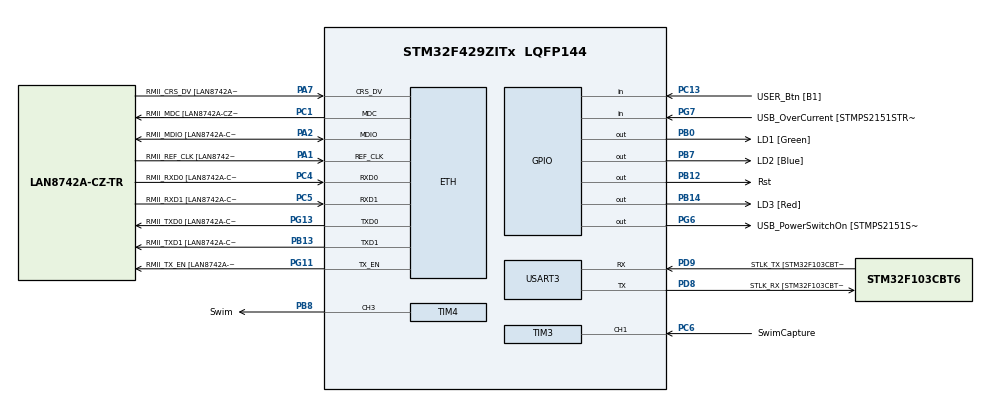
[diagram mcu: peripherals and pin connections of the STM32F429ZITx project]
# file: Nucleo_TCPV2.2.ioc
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Dma.Request0=TIM4_UP
Dma.Request1=TIM3_CH2
Dma.Request2=USART3_TX
Dma.TIM3_CH2.1.Direction=DMA_PERIPH_TO_MEMORY
Dma.TIM3_CH2.1.FIFOMode=DMA_FIFOMODE_DISABLE
Dma.TIM3_CH2.1.Instance=DMA1_Stream5
Dma.TIM3_CH2.1.MemDataAlignment=DMA_MDATAALIGN_HALFWORD
Dma.TIM3_CH2.1.MemInc=DMA_MINC_ENABLE
Dma.TIM3_CH2.1.Mode=DMA_NORMAL
Dma.TIM3_CH2.1.PeriphDataAlignment=DMA_PDATAALIGN_HALFWORD
Dma.TIM3_CH2.1.PeriphInc=DMA_PINC_DISABLE
Dma.TIM3_CH2.1.Priority=DMA_PRIORITY_LOW
Dma.TIM4_UP.0.Direction=DMA_MEMORY_TO_PERIPH
Dma.TIM4_UP.0.FIFOMode=DMA_FIFOMODE_DISABLE
Dma.TIM4_UP.0.Instance=DMA1_Stream6
Dma.TIM4_UP.0.MemDataAlignment=DMA_MDATAALIGN_HALFWORD
Dma.TIM4_UP.0.MemInc=DMA_MINC_ENABLE
Dma.TIM4_UP.0.Mode=DMA_NORMAL
Dma.TIM4_UP.0.PeriphDataAlignment=DMA_PDATAALIGN_HALFWORD
Dma.TIM4_UP.0.PeriphInc=DMA_PINC_DISABLE
Dma.TIM4_UP.0.Priority=DMA_PRIORITY_LOW
Dma.USART3_TX.2.Direction=DMA_MEMORY_TO_PERIPH
Dma.USART3_TX.2.FIFOMode=DMA_FIFOMODE_DISABLE
Dma.USART3_TX.2.Instance=DMA1_Stream3
Dma.USART3_TX.2.MemDataAlignment=DMA_MDATAALIGN_BYTE
Dma.USART3_TX.2.MemInc=DMA_MINC_ENABLE
Dma.USART3_TX.2.Mode=DMA_NORMAL
Dma.USART3_TX.2.PeriphDataAlignment=DMA_PDATAALIGN_BYTE
Dma.USART3_TX.2.PeriphInc=DMA_PINC_DISABLE
Dma.USART3_TX.2.Priority=DMA_PRIORITY_LOW
ETH.MACAddr=00\:80\:E1\:00\:00\:10
ETH.MediaInterface=HAL_ETH_RMII_MODE
ETH.PHY_Name=LAN8742A_PHY_ADDRESS
ETH.PHY_Value=0
ETH.PhyAddress=0
LWIP.API_LIB_DEBUG=LWIP_DBG_OFF
LWIP.API_MSG_DEBUG=LWIP_DBG_OFF
LWIP.BSP.number=1
LWIP.CHECKSUM_BY_HARDWARE=1
LWIP.CMSIS_VERSION-Enabled=1
LWIP.ETHARP_DEBUG=LWIP_DBG_OFF
LWIP.GATEWAY_ADDRESS=192.168.038.001
LWIP.IP_ADDRESS=192.168.038.251
LWIP.IP_DEBUG=LWIP_DBG_OFF
LWIP.IP_REASS_MAX_PBUFS=7
LWIP.LWIP_DBG_TYPES_ON=LWIP_DBG_ON
LWIP.LWIP_DHCP=0
LWIP.LWIP_NETIF_EXT_STATUS_CALLBACK=1
LWIP.LWIP_NETIF_STATUS_CALLBACK=1
LWIP.MEMP_NUM_PBUF=10
LWIP.MEMP_NUM_SYS_TIMEOUT=10
LWIP.MEMP_NUM_TCP_PCB=10
LWIP.MEMP_NUM_TCP_PCB_LISTEN=5
LWIP.MEMP_NUM_TCP_SEG=TCP_SND_QUEUELEN
LWIP.MEMP_NUM_UDP_PCB=6
LWIP.MEM_DEBUG=LWIP_DBG_OFF
LWIP.MEM_SIZE=(14*1024)
LWIP.NETMASK_ADDRESS=255.255.255.000
LWIP.PBUF_DEBUG=LWIP_DBG_OFF
LWIP.PBUF_POOL_BUFSIZE=1536
LWIP.PBUF_POOL_SIZE=16
LWIP.RAW_DEBUG=LWIP_DBG_OFF
LWIP.SOCKETS_DEBUG=LWIP_DBG_OFF
LWIP.TCP_DEBUG=LWIP_DBG_OFF
LWIP.TCP_INPUT_DEBUG=LWIP_DBG_OFF
LWIP.TCP_MSS=1460
LWIP.TCP_SND_BUF=5840
LWIP.TCP_SND_QUEUELEN=8
LWIP.TCP_WND=5840
LWIP.Version=v2.1.2_Cube
LWIP0.BSP.STBoard=false
LWIP0.BSP.api=BSP_COMPONENT_DRIVER
LWIP0.BSP.component=LAN8742
LWIP0.BSP.instance=LAN8742
LWIP0.BSP.name=Driver_PHY
LWIP0.BSP.semaphore=S_LAN8742
LWIP0.BSP.solution=LAN8742
Mcu.Family=STM32F4
Mcu.Name=STM32F429ZITx
Mcu.Package=LQFP144
NVIC.DMA1_Stream3_IRQn=true\:0\:0\:false\:false\:true\:false\:true\:true
NVIC.DMA1_Stream5_IRQn=true\:1\:0\:true\:false\:true\:false\:true\:true
NVIC.DMA1_Stream6_IRQn=true\:1\:0\:true\:false\:true\:false\:true\:true
NVIC.ETH_IRQn=true\:1\:0\:true\:false\:true\:true\:true\:true
NVIC.PriorityGroup=NVIC_PRIORITYGROUP_4
NVIC.TIM3_IRQn=true\:1\:0\:true\:false\:true\:true\:true\:true
NVIC.TIM6_DAC_IRQn=true\:15\:0\:false\:false\:true\:false\:true\:true
NVIC.TimeBase=TIM6_DAC_IRQn
NVIC.TimeBaseIP=TIM6
PA1.GPIO_Label=RMII_REF_CLK [LAN8742A-CZ-TR_REFCLK0]
PA1.Mode=RMII
PA1.Signal=ETH_REF_CLK
PA13.GPIO_Label=TMS
PA13.Mode=Serial_Wire
PA13.Signal=SYS_JTMS-SWDIO
PA14.GPIO_Label=TCK
PA14.Mode=Serial_Wire
PA14.Signal=SYS_JTCK-SWCLK
PA2.GPIO_Label=RMII_MDIO [LAN8742A-CZ-TR_MDIO]
PA2.Mode=RMII
PA2.Signal=ETH_MDIO
PA7.GPIO_Label=RMII_CRS_DV [LAN8742A-CZ-TR_CRS_DV]
PA7.Mode=RMII
PA7.Signal=ETH_CRS_DV
PB0.GPIO_Label=LD1 [Green]
PB0.Signal=GPIO_Output
PB12.GPIO_Label=Rst
PB12.GPIO_ModeDefaultOutputPP=GPIO_MODE_OUTPUT_OD
PB12.GPIO_PuPd=GPIO_PULLUP
PB12.GPIO_Speed=GPIO_SPEED_FREQ_HIGH
PB12.PinState=GPIO_PIN_SET
PB12.Signal=GPIO_Output
PB13.GPIO_Label=RMII_TXD1 [LAN8742A-CZ-TR_TXD1]
PB13.Mode=RMII
PB13.Signal=ETH_TXD1
PB14.GPIO_Label=LD3 [Red]
PB14.Signal=GPIO_Output
PB7.GPIO_Label=LD2 [Blue]
PB7.Signal=GPIO_Output
PB8.GPIO_Label=Swim
PB8.GPIO_ModeDefaultPP=GPIO_MODE_AF_OD
PB8.GPIO_PuPd=GPIO_PULLUP
PB8.GPIO_Speed=GPIO_SPEED_FREQ_VERY_HIGH
PB8.Signal=S_TIM4_CH3
PC1.GPIO_Label=RMII_MDC [LAN8742A-CZ-TR_MDC]
PC1.Mode=RMII
PC1.Signal=ETH_MDC
PC13.GPIO_Label=USER_Btn [B1]
PC13.Signal=GPIO_Input
PC14/OSC32_IN.Mode=LSE-External-Oscillator
PC14/OSC32_IN.Signal=RCC_OSC32_IN
PC15/OSC32_OUT.Mode=LSE-External-Oscillator
PC15/OSC32_OUT.Signal=RCC_OSC32_OUT
PC4.GPIO_Label=RMII_RXD0 [LAN8742A-CZ-TR_RXD0]
PC4.Mode=RMII
PC4.Signal=ETH_RXD0
PC5.GPIO_Label=RMII_RXD1 [LAN8742A-CZ-TR_RXD1]
PC5.Mode=RMII
PC5.Signal=ETH_RXD1
PC6.GPIO_Label=SwimCapture
PC6.GPIO_ModeDefaultPP=GPIO_MODE_AF_OD
PC6.GPIO_PuPd=GPIO_PULLUP
PC6.GPIO_Speed=GPIO_SPEED_FREQ_VERY_HIGH
PC6.Signal=S_TIM3_CH1
PD8.GPIO_Label=STLK_RX [STM32F103CBT6_PA3]
PD8.Mode=Asynchronous
PD8.Signal=USART3_TX
PD9.GPIO_Label=STLK_TX [STM32F103CBT6_PA2]
PD9.Mode=Asynchronous
PD9.Signal=USART3_RX
PG11.GPIO_Label=RMII_TX_EN [LAN8742A-CZ-TR_TXEN]
PG11.Mode=RMII
PG11.Signal=ETH_TX_EN
PG13.GPIO_Label=RMII_TXD0 [LAN8742A-CZ-TR_TXD0]
PG13.Mode=RMII
PG13.Signal=ETH_TXD0
PG6.GPIO_Label=USB_PowerSwitchOn [STMPS2151STR_EN]
PG6.Signal=GPIO_Output
PG7.GPIO_Label=USB_OverCurrent [STMPS2151STR_FAULT]
PG7.Signal=GPIO_Input
PH0/OSC_IN.GPIO_Label=MCO [STM32F103CBT6_PA8]
PH0/OSC_IN.Mode=HSE-External-Clock-Source
PH0/OSC_IN.Signal=RCC_OSC_IN
PH1/OSC_OUT.Mode=HSE-External-Clock-Source
PH1/OSC_OUT.Signal=RCC_OSC_OUT
ProjectManager.HeapSize=0x4000
ProjectManager.StackSize=0x1000
ProjectManager.TargetToolchain=STM32CubeIDE
RCC.48MHZClocksFreq_Value=50285714.28571428
RCC.AHBFreq_Value=176000000
RCC.APB1CLKDivider=RCC_HCLK_DIV4
RCC.APB1Freq_Value=44000000
RCC.APB1TimFreq_Value=88000000
RCC.APB2CLKDivider=RCC_HCLK_DIV2
RCC.APB2Freq_Value=88000000
RCC.APB2TimCLKDivider=2
RCC.APB2TimFreq_Value=176000000
RCC.CortexFreq_Value=176000000
RCC.HCLKFreq_Value=176000000
RCC.HSE_VALUE=8000000
RCC.HSI_VALUE=16000000
RCC.PLLM=4
RCC.PLLMUL=RCC_PLL_MUL9
RCC.PLLN=176
RCC.PLLQ=7
RCC.PLLSourceVirtual=RCC_PLLSOURCE_HSE
RCC.PRESCALERUSB=RCC_USBCLKSOURCE_PLL_DIV1_5
RCC.SYSCLKFreq_VALUE=176000000
RCC.SYSCLKSource=RCC_SYSCLKSOURCE_PLLCLK
RCC.SYSCLKSourceVirtual=RCC_SYSCLKSOURCE_PLLCLK
RCC.USBFreq_Value=48000000
RCC.VCOOutputFreq_Value=352000000
SH.S_TIM3_CH1.0=TIM3_CH1,Input_Capture1_from_TI1
SH.S_TIM3_CH1.1=TIM3_CH1,Input_Capture2_from_TI1
SH.S_TIM3_CH1.2=TIM3_CH1,TriggerSource_TI1FP1
SH.S_TIM4_CH3.0=TIM4_CH3,PWM Generation3 CH3
TIM1.Period=3999
TIM1.Prescaler=43999
TIM1.TIM_MasterOutputTrigger=TIM_TRGO_UPDATE
TIM1.TIM_MasterSlaveMode=TIM_MASTERSLAVEMODE_ENABLE
TIM14.Period=999
TIM14.Prescaler=175
TIM2.Period=0xFFFFFFFF
TIM2.TIM_MasterSlaveMode=TIM_MASTERSLAVEMODE_ENABLE
TIM3.AutoReloadPreload=TIM_AUTORELOAD_PRELOAD_DISABLE
TIM3.Channel-Input_Capture1_from_TI1=TIM_CHANNEL_1
TIM3.Channel-Input_Capture2_from_TI1=TIM_CHANNEL_2
TIM3.Channel-Output\ Compare4\ No\ Output=TIM_CHANNEL_4
TIM3.CounterMode=TIM_COUNTERMODE_UP
TIM3.ICPolarity_CH1=TIM_INPUTCHANNELPOLARITY_FALLING
TIM3.Period=0xFFFF
TIM3.Prescaler=0
TIM3.Pulse-Output\ Compare4\ No\ Output=0xFFF0
TIM4.Channel-PWM\ Generation3\ CH3=TIM_CHANNEL_3
TIM4.Period=43999
TIM4.Prescaler=0
TIM4.Pulse-PWM\ Generation3\ CH3=100
TIM5.Prescaler=87
USART3.VirtualMode=VM_ASYNC
VP_CRC_VS_CRC.Mode=CRC_Activate
VP_LWIP_VS_Enabled.Mode=Enabled
VP_SYS_VS_tim6.Mode=TIM6
VP_TIM14_VS_ClockSourceINT.Mode=Enable_Timer
VP_TIM1_VS_ClockSourceINT.Mode=Internal
VP_TIM2_VS_ClockSourceITR.Mode=TriggerSource_ITR0
VP_TIM2_VS_ControllerModeClock.Mode=Clock Mode
VP_TIM3_VS_ClockSourceINT.Mode=Internal
VP_TIM3_VS_ControllerModeReset.Mode=Reset Mode
VP_TIM3_VS_no_output4.Mode=Output Compare4 No Output
VP_TIM4_VS_ClockSourceINT.Mode=Internal
VP_TIM5_VS_ClockSourceINT.Mode=Internal
board=NUCLEO-F429ZI

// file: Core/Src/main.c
/* USER CODE BEGIN Header */
/**
  ******************************************************************************
  * @file           : main.c
  * @brief          : Main program body
  ******************************************************************************
  * @attention
  *
  * Copyright (c) 2025 STMicroelectronics.
  * All rights reserved.
  *
  * This software is licensed under terms that can be found in the LICENSE file
  * in the root directory of this software component.
  * If no LICENSE file comes with this software, it is provided AS-IS.
  *
  ******************************************************************************
  */
/* USER CODE END Header */
#include "main.h"
#include "lwip.h"

/* USER CODE BEGIN Includes */
#include "string.h"
#include "Came.h"

/* USER CODE END Includes */

/* USER CODE BEGIN PD */

//#define Debug 1

/* USER CODE END PD */

/* USER CODE BEGIN PV */
extern uint32_t SWIMStatus;
unsigned int Data[128];
char TxBuffer[1024];

int i;
uint32_t NewCodePtr;
uint32_t NewCode2ReadPtr;

/* USER CODE END PV */

void SystemClock_Config(void);
static void MX_GPIO_Init(void);
static void MX_DMA_Init(void);
static void MX_USART3_UART_Init(void);
static void MX_CRC_Init(void);
static void MX_TIM3_Init(void);
static void MX_TIM4_Init(void);
static void MX_TIM1_Init(void);
static void MX_TIM2_Init(void);
static void MX_TIM5_Init(void);
static void MX_TIM14_Init(void);

int main(void)
{

  /* USER CODE BEGIN 1 */
	//Init pointers to the codes read on the Came board TIM7
	NewCodePtr = 0;
	NewCode2ReadPtr = 0;
	uint32_t LastCPUStatusCheck,LastCameOp;
	uint32_t CurrTimestamp;
	uint8_t Contatore;
	memset(&CodeData[0],0xff,10);  //Clear current buffer
	uint8_t ControllerVersion;
  /* USER CODE END 1 */

  /* MCU Configuration--------------------------------------------------------*/

  /* Reset of all peripherals, Initializes the Flash interface and the Systick. */
  HAL_Init();

  /* Configure the system clock */
  SystemClock_Config();

  /* Initialize all configured peripherals */
  MX_GPIO_Init();
  MX_DMA_Init();
  MX_USART3_UART_Init();
  MX_LWIP_Init();
  MX_CRC_Init();
  MX_TIM3_Init();
  MX_TIM4_Init();
  MX_TIM1_Init();
  MX_TIM2_Init();
  MX_TIM5_Init();
  MX_TIM14_Init();
  /* USER CODE BEGIN 2 */
  printf_init();
  (void)Contatore;

  //TImers 1 and 2 used in cascade to generate timestamp for ethernet messages
  LL_TIM_EnableCounter(TIM2);
  LL_TIM_EnableCounter(TIM1);

  LL_TIM_EnableCounter(TIM5); //Counts at 1MHz, to generate schedule in main.c
  LL_TIM_EnableCounter(TIM14); //To check update event to generate ethernet process
  /* USER CODE BEGIN 5 */
  SWIMInit();

  // Inith ethernet interface
  tcp_com_init();

#ifdef Debug  //Print memory
  uint32_t RxAddr = 0x5;  //Later is shifted by 4
  uint32_t TimeForDelay;
  uint8_t RxChar;
#endif

  CurrTimestamp = LL_TIM_GetCounter(TIM5);
  LastCPUStatusCheck = CurrTimestamp;
  LastCameOp = CurrTimestamp;

  ControllerVersion = 0;

  /* USER CODE END 2 */

  /* Infinite loop */
  /* USER CODE BEGIN WHILE */
  while (1)
  {

	  CurrTimestamp = LL_TIM_GetCounter(TIM5);
#ifdef Debug  //Print memory  1kB of memory 00..0x3ff

	  i = 0;
//	  SWIM_Write(0x7f99, 1,(uint16_t *)&Data);
	  SWIM_Read((RxAddr<<4),0x40,(uint16_t *)&Data);
//	  SWIMRst();
	  sprintf(TxBuffer,"%04X > ", (unsigned int)RxAddr<<4);
	  printf(TxBuffer); //,0);
	  while(i<32) {
		  sprintf(TxBuffer,"%02X %02X %02X %02X.%02X %02X %02X %02X|", Data[i] & 0xffff, (Data[i]>>16) & 0xffff, Data[i+1] & 0xffff, (Data[i+1]>>16) & 0xffff, Data[i+2] & 0xffff, (Data[i+2]>>16) & 0xffff,Data[i+3] & 0xffff, (Data[i+3]>>16) & 0xffff);
		  i += 4;
		  printf(TxBuffer);
		  if (i>=32)
			  printf("%d\n",Contatore++);
	  }
#endif
	  if (SWIMStatus != SWIM_Idle) {
		  SWIMCommRst();
		  if (SWIMStatus != SWIM_Idle) { //not recovered? try a full resync
			  LL_GPIO_SetOutputPin(LD3_GPIO_Port, LD3_Pin);
			  SWIMInit();
			  LastCPUStatusCheck = CurrTimestamp - 3100000l; //To force check of CPU stall
		  }
	  } else {
		  LL_GPIO_ResetOutputPin(LD3_GPIO_Port, LD3_Pin);
	  }
#ifdef Debug  //Print memory
	  if (LL_USART_IsActiveFlag_RXNE(USART3)) {
		  RxChar = LL_USART_ReceiveData8(USART3) | 0x20; //Converted to lowercase
		  if (RxChar >= 'a')
			  RxChar = RxChar - 'a' + 10;
		  else
			  RxChar = RxChar - '0';
		  RxAddr = ((RxAddr<<4) | RxChar) & 0xfff;
	  }
	  TimeForDelay = LL_TIM_GetCounter(TIM5);
	  while ((LL_TIM_GetCounter(TIM5) - TimeForDelay) < 500000)
		  ;
	  //osDelay(500);
#endif

	  if ((CurrTimestamp - LastCPUStatusCheck) > 3000000l) {  //every 3 sec check if came is in reset
		  LastCPUStatusCheck = CurrTimestamp;
		  SWIM_Read(0x7f99, 1,(uint16_t *)&Data);  //Checking if CPU is in stall, normally after reset
		  if ((Data[0] & 8 ) == 8) {
			  Data[0] = Data[0] & 0xF7;  //clear bit 3 to resume CPU from stall
			  SWIM_Write(0x7f99, 1,(uint16_t *)&Data);
		  }
		  if ( ControllerVersion == 0) {
			  SWIM_Read(0x8100,0x4,(uint16_t *)&Data);
			  if (Data[0] == 0xb70007 && Data[1] == 0x3f0018) {         //V2: S1238100 07B7183F
				  ControllerVersion = 2;
			  } else if (Data[0] == 0x3f000C && Data[1] == 0x3f0014 ) {  //V1: S1238100 0C3F143F
				  ControllerVersion = 1;
			  }
		  }
	  }
	  //Print timestamp
	  //sprintf(TxBuffer,"%08lX",LL_TIM_GetCounter(TIM2));
	  //LL_PrintMyString(TxBuffer,1);

#ifndef Debug
	  if (((CurrTimestamp - LastCameOp) > 100000l) && (ControllerVersion > 0) ) {
		  CheckStoreCode(ControllerVersion);

		  if (CameStatus == CameOpRead) {
			  LL_GPIO_TogglePin(LD2_GPIO_Port, LD2_Pin);
			  ReadFlashCode();
		  }

		  if (CameStatus == CameOpWrite) {
			  LL_GPIO_TogglePin(LD2_GPIO_Port, LD2_Pin);
			  WriteFlashCode();
		  }
		  LastCameOp = CurrTimestamp;
	  }
#else
	  (void)LastCameOp;
#endif

	  //LL_GPIO_TogglePin(LD2_GPIO_Port, LD2_Pin);
	  //osDelay(100);

//	  SWIMRst();
//	  osDelay(1);
//	  LL_GPIO_ResetOutputPin(LD3_GPIO_Port, LD3_Pin);
//	  LL_GPIO_ResetOutputPin(LD1_GPIO_Port, LD1_Pin);

	  MX_LWIP_Process();
    /* USER CODE END WHILE */

  }
}

void SystemClock_Config(void)
{
  LL_FLASH_SetLatency(LL_FLASH_LATENCY_5);
  while(LL_FLASH_GetLatency()!= LL_FLASH_LATENCY_5)
  {
  }
  LL_PWR_SetRegulVoltageScaling(LL_PWR_REGU_VOLTAGE_SCALE1);
  LL_PWR_EnableOverDriveMode();
  LL_RCC_HSE_EnableBypass();
  LL_RCC_HSE_Enable();

   /* Wait till HSE is ready */
  while(LL_RCC_HSE_IsReady() != 1)
  {

  }
  LL_RCC_PLL_ConfigDomain_SYS(LL_RCC_PLLSOURCE_HSE, LL_RCC_PLLM_DIV_4, 176, LL_RCC_PLLP_DIV_2);
  LL_RCC_PLL_Enable();

   /* Wait till PLL is ready */
  while(LL_RCC_PLL_IsReady() != 1)
  {

  }
  while (LL_PWR_IsActiveFlag_VOS() == 0)
  {
  }
  LL_RCC_SetAHBPrescaler(LL_RCC_SYSCLK_DIV_1);
  LL_RCC_SetAPB1Prescaler(LL_RCC_APB1_DIV_4);
  LL_RCC_SetAPB2Prescaler(LL_RCC_APB2_DIV_2);
  LL_RCC_SetSysClkSource(LL_RCC_SYS_CLKSOURCE_PLL);

   /* Wait till System clock is ready */
  while(LL_RCC_GetSysClkSource() != LL_RCC_SYS_CLKSOURCE_STATUS_PLL)
  {

  }
  LL_SetSystemCoreClock(176000000);

   /* Update the time base */
  if (HAL_InitTick (TICK_INT_PRIORITY) != HAL_OK)
  {
    Error_Handler();
  }
  LL_RCC_SetTIMPrescaler(LL_RCC_TIM_PRESCALER_TWICE);
}

static void MX_CRC_Init(void)
{

  /* Peripheral clock enable */
  LL_AHB1_GRP1_EnableClock(LL_AHB1_GRP1_PERIPH_CRC);

}

static void MX_TIM1_Init(void)
{

  LL_TIM_InitTypeDef TIM_InitStruct = {0};

  /* Peripheral clock enable */
  LL_APB2_GRP1_EnableClock(LL_APB2_GRP1_PERIPH_TIM1);

  TIM_InitStruct.Prescaler = 43999;
  TIM_InitStruct.CounterMode = LL_TIM_COUNTERMODE_UP;
  TIM_InitStruct.Autoreload = 3999;
  TIM_InitStruct.ClockDivision = LL_TIM_CLOCKDIVISION_DIV1;
  TIM_InitStruct.RepetitionCounter = 0;
  LL_TIM_Init(TIM1, &TIM_InitStruct);
  LL_TIM_DisableARRPreload(TIM1);
  LL_TIM_SetClockSource(TIM1, LL_TIM_CLOCKSOURCE_INTERNAL);
  LL_TIM_SetTriggerOutput(TIM1, LL_TIM_TRGO_UPDATE);
  LL_TIM_EnableMasterSlaveMode(TIM1);

}

static void MX_TIM2_Init(void)
{

  LL_TIM_InitTypeDef TIM_InitStruct = {0};

  /* Peripheral clock enable */
  LL_APB1_GRP1_EnableClock(LL_APB1_GRP1_PERIPH_TIM2);

  TIM_InitStruct.Prescaler = 0;
  TIM_InitStruct.CounterMode = LL_TIM_COUNTERMODE_UP;
  TIM_InitStruct.Autoreload = 0xFFFFFFFF;
  TIM_InitStruct.ClockDivision = LL_TIM_CLOCKDIVISION_DIV1;
  LL_TIM_Init(TIM2, &TIM_InitStruct);
  LL_TIM_DisableARRPreload(TIM2);
  LL_TIM_SetTriggerInput(TIM2, LL_TIM_TS_ITR0);
  LL_TIM_SetClockSource(TIM2, LL_TIM_CLOCKSOURCE_EXT_MODE1);
  LL_TIM_DisableIT_TRIG(TIM2);
  LL_TIM_DisableDMAReq_TRIG(TIM2);
  LL_TIM_SetTriggerOutput(TIM2, LL_TIM_TRGO_RESET);
  LL_TIM_EnableMasterSlaveMode(TIM2);

}

static void MX_TIM3_Init(void)
{

  LL_TIM_InitTypeDef TIM_InitStruct = {0};
  LL_TIM_OC_InitTypeDef TIM_OC_InitStruct = {0};

  LL_GPIO_InitTypeDef GPIO_InitStruct = {0};

  /* Peripheral clock enable */
  LL_APB1_GRP1_EnableClock(LL_APB1_GRP1_PERIPH_TIM3);

  LL_AHB1_GRP1_EnableClock(LL_AHB1_GRP1_PERIPH_GPIOC);
  /**TIM3 GPIO Configuration
  PC6   ------> TIM3_CH1
  */
  GPIO_InitStruct.Pin = SwimCapture_Pin;
  GPIO_InitStruct.Mode = LL_GPIO_MODE_ALTERNATE;
  GPIO_InitStruct.Speed = LL_GPIO_SPEED_FREQ_VERY_HIGH;
  GPIO_InitStruct.OutputType = LL_GPIO_OUTPUT_OPENDRAIN;
  GPIO_InitStruct.Pull = LL_GPIO_PULL_UP;
  GPIO_InitStruct.Alternate = LL_GPIO_AF_2;
  LL_GPIO_Init(SwimCapture_GPIO_Port, &GPIO_InitStruct);

  /* TIM3 DMA Init */

  /* TIM3_CH2 Init */
  LL_DMA_SetChannelSelection(DMA1, LL_DMA_STREAM_5, LL_DMA_CHANNEL_5);

  LL_DMA_SetDataTransferDirection(DMA1, LL_DMA_STREAM_5, LL_DMA_DIRECTION_PERIPH_TO_MEMORY);

  LL_DMA_SetStreamPriorityLevel(DMA1, LL_DMA_STREAM_5, LL_DMA_PRIORITY_LOW);

  LL_DMA_SetMode(DMA1, LL_DMA_STREAM_5, LL_DMA_MODE_NORMAL);

  LL_DMA_SetPeriphIncMode(DMA1, LL_DMA_STREAM_5, LL_DMA_PERIPH_NOINCREMENT);

  LL_DMA_SetMemoryIncMode(DMA1, LL_DMA_STREAM_5, LL_DMA_MEMORY_INCREMENT);

  LL_DMA_SetPeriphSize(DMA1, LL_DMA_STREAM_5, LL_DMA_PDATAALIGN_HALFWORD);

  LL_DMA_SetMemorySize(DMA1, LL_DMA_STREAM_5, LL_DMA_MDATAALIGN_HALFWORD);

  LL_DMA_DisableFifoMode(DMA1, LL_DMA_STREAM_5);

  /* TIM3 interrupt Init */
  NVIC_SetPriority(TIM3_IRQn, NVIC_EncodePriority(NVIC_GetPriorityGrouping(),1, 0));
  NVIC_EnableIRQ(TIM3_IRQn);

  TIM_InitStruct.Prescaler = 0;
  TIM_InitStruct.CounterMode = LL_TIM_COUNTERMODE_UP;
  TIM_InitStruct.Autoreload = 0xFFFF;
  TIM_InitStruct.ClockDivision = LL_TIM_CLOCKDIVISION_DIV1;
  LL_TIM_Init(TIM3, &TIM_InitStruct);
  LL_TIM_DisableARRPreload(TIM3);
  LL_TIM_SetClockSource(TIM3, LL_TIM_CLOCKSOURCE_INTERNAL);
  TIM_OC_InitStruct.OCMode = LL_TIM_OCMODE_FROZEN;
  TIM_OC_InitStruct.OCState = LL_TIM_OCSTATE_DISABLE;
  TIM_OC_InitStruct.OCNState = LL_TIM_OCSTATE_DISABLE;
  TIM_OC_InitStruct.CompareValue = 0xFFF0;
  TIM_OC_InitStruct.OCPolarity = LL_TIM_OCPOLARITY_HIGH;
  LL_TIM_OC_Init(TIM3, LL_TIM_CHANNEL_CH4, &TIM_OC_InitStruct);
  LL_TIM_OC_DisableFast(TIM3, LL_TIM_CHANNEL_CH4);
  LL_TIM_SetTriggerInput(TIM3, LL_TIM_TS_TI1FP1);
  LL_TIM_SetSlaveMode(TIM3, LL_TIM_SLAVEMODE_RESET);
  LL_TIM_IC_SetFilter(TIM3, LL_TIM_CHANNEL_CH1, LL_TIM_IC_FILTER_FDIV1);
  LL_TIM_IC_SetPolarity(TIM3, LL_TIM_CHANNEL_CH1, LL_TIM_IC_POLARITY_FALLING);
  LL_TIM_DisableIT_TRIG(TIM3);
  LL_TIM_DisableDMAReq_TRIG(TIM3);
  LL_TIM_SetTriggerOutput(TIM3, LL_TIM_TRGO_RESET);
  LL_TIM_DisableMasterSlaveMode(TIM3);
  LL_TIM_IC_SetActiveInput(TIM3, LL_TIM_CHANNEL_CH1, LL_TIM_ACTIVEINPUT_DIRECTTI);
  LL_TIM_IC_SetPrescaler(TIM3, LL_TIM_CHANNEL_CH1, LL_TIM_ICPSC_DIV1);
  LL_TIM_IC_SetActiveInput(TIM3, LL_TIM_CHANNEL_CH2, LL_TIM_ACTIVEINPUT_INDIRECTTI);
  LL_TIM_IC_SetPrescaler(TIM3, LL_TIM_CHANNEL_CH2, LL_TIM_ICPSC_DIV1);
  LL_TIM_IC_SetFilter(TIM3, LL_TIM_CHANNEL_CH2, LL_TIM_IC_FILTER_FDIV1);
  LL_TIM_IC_SetPolarity(TIM3, LL_TIM_CHANNEL_CH2, LL_TIM_IC_POLARITY_RISING);

}

static void MX_TIM4_Init(void)
{

  LL_TIM_InitTypeDef TIM_InitStruct = {0};
  LL_TIM_OC_InitTypeDef TIM_OC_InitStruct = {0};

  LL_GPIO_InitTypeDef GPIO_InitStruct = {0};

  /* Peripheral clock enable */
  LL_APB1_GRP1_EnableClock(LL_APB1_GRP1_PERIPH_TIM4);

  /* TIM4 DMA Init */

  /* TIM4_UP Init */
  LL_DMA_SetChannelSelection(DMA1, LL_DMA_STREAM_6, LL_DMA_CHANNEL_2);

  LL_DMA_SetDataTransferDirection(DMA1, LL_DMA_STREAM_6, LL_DMA_DIRECTION_MEMORY_TO_PERIPH);

  LL_DMA_SetStreamPriorityLevel(DMA1, LL_DMA_STREAM_6, LL_DMA_PRIORITY_LOW);

  LL_DMA_SetMode(DMA1, LL_DMA_STREAM_6, LL_DMA_MODE_NORMAL);

  LL_DMA_SetPeriphIncMode(DMA1, LL_DMA_STREAM_6, LL_DMA_PERIPH_NOINCREMENT);

  LL_DMA_SetMemoryIncMode(DMA1, LL_DMA_STREAM_6, LL_DMA_MEMORY_INCREMENT);

  LL_DMA_SetPeriphSize(DMA1, LL_DMA_STREAM_6, LL_DMA_PDATAALIGN_HALFWORD);

  LL_DMA_SetMemorySize(DMA1, LL_DMA_STREAM_6, LL_DMA_MDATAALIGN_HALFWORD);

  LL_DMA_DisableFifoMode(DMA1, LL_DMA_STREAM_6);

  TIM_InitStruct.Prescaler = 0;
  TIM_InitStruct.CounterMode = LL_TIM_COUNTERMODE_UP;
  TIM_InitStruct.Autoreload = 43999;
  TIM_InitStruct.ClockDivision = LL_TIM_CLOCKDIVISION_DIV1;
  LL_TIM_Init(TIM4, &TIM_InitStruct);
  LL_TIM_DisableARRPreload(TIM4);
  LL_TIM_SetClockSource(TIM4, LL_TIM_CLOCKSOURCE_INTERNAL);
  LL_TIM_OC_EnablePreload(TIM4, LL_TIM_CHANNEL_CH3);
  TIM_OC_InitStruct.OCMode = LL_TIM_OCMODE_PWM1;
  TIM_OC_InitStruct.OCState = LL_TIM_OCSTATE_DISABLE;
  TIM_OC_InitStruct.OCNState = LL_TIM_OCSTATE_DISABLE;
  TIM_OC_InitStruct.CompareValue = 100;
  TIM_OC_InitStruct.OCPolarity = LL_TIM_OCPOLARITY_HIGH;
  LL_TIM_OC_Init(TIM4, LL_TIM_CHANNEL_CH3, &TIM_OC_InitStruct);
  LL_TIM_OC_DisableFast(TIM4, LL_TIM_CHANNEL_CH3);
  LL_TIM_SetTriggerOutput(TIM4, LL_TIM_TRGO_RESET);
  LL_TIM_DisableMasterSlaveMode(TIM4);
  LL_AHB1_GRP1_EnableClock(LL_AHB1_GRP1_PERIPH_GPIOB);
  /**TIM4 GPIO Configuration
  PB8   ------> TIM4_CH3
  */
  GPIO_InitStruct.Pin = Swim_Pin;
  GPIO_InitStruct.Mode = LL_GPIO_MODE_ALTERNATE;
  GPIO_InitStruct.Speed = LL_GPIO_SPEED_FREQ_VERY_HIGH;
  GPIO_InitStruct.OutputType = LL_GPIO_OUTPUT_OPENDRAIN;
  GPIO_InitStruct.Pull = LL_GPIO_PULL_UP;
  GPIO_InitStruct.Alternate = LL_GPIO_AF_2;
  LL_GPIO_Init(Swim_GPIO_Port, &GPIO_InitStruct);

}

static void MX_TIM5_Init(void)
{

  LL_TIM_InitTypeDef TIM_InitStruct = {0};

  /* Peripheral clock enable */
  LL_APB1_GRP1_EnableClock(LL_APB1_GRP1_PERIPH_TIM5);

  TIM_InitStruct.Prescaler = 87;
  TIM_InitStruct.CounterMode = LL_TIM_COUNTERMODE_UP;
  TIM_InitStruct.Autoreload = 4294967295;
  TIM_InitStruct.ClockDivision = LL_TIM_CLOCKDIVISION_DIV1;
  LL_TIM_Init(TIM5, &TIM_InitStruct);
  LL_TIM_DisableARRPreload(TIM5);
  LL_TIM_SetClockSource(TIM5, LL_TIM_CLOCKSOURCE_INTERNAL);
  LL_TIM_SetTriggerOutput(TIM5, LL_TIM_TRGO_RESET);
  LL_TIM_DisableMasterSlaveMode(TIM5);

}

static void MX_TIM14_Init(void)
{

  LL_TIM_InitTypeDef TIM_InitStruct = {0};

  /* Peripheral clock enable */
  LL_APB1_GRP1_EnableClock(LL_APB1_GRP1_PERIPH_TIM14);

  TIM_InitStruct.Prescaler = 175;
  TIM_InitStruct.CounterMode = LL_TIM_COUNTERMODE_UP;
  TIM_InitStruct.Autoreload = 999;
  TIM_InitStruct.ClockDivision = LL_TIM_CLOCKDIVISION_DIV1;
  LL_TIM_Init(TIM14, &TIM_InitStruct);
  LL_TIM_DisableARRPreload(TIM14);

}

static void MX_USART3_UART_Init(void)
{

  LL_USART_InitTypeDef USART_InitStruct = {0};

  LL_GPIO_InitTypeDef GPIO_InitStruct = {0};

  /* Peripheral clock enable */
  LL_APB1_GRP1_EnableClock(LL_APB1_GRP1_PERIPH_USART3);

  LL_AHB1_GRP1_EnableClock(LL_AHB1_GRP1_PERIPH_GPIOD);
  /**USART3 GPIO Configuration
  PD8   ------> USART3_TX
  PD9   ------> USART3_RX
  */
  GPIO_InitStruct.Pin = STLK_RX_Pin|STLK_TX_Pin;
  GPIO_InitStruct.Mode = LL_GPIO_MODE_ALTERNATE;
  GPIO_InitStruct.Speed = LL_GPIO_SPEED_FREQ_VERY_HIGH;
  GPIO_InitStruct.OutputType = LL_GPIO_OUTPUT_PUSHPULL;
  GPIO_InitStruct.Pull = LL_GPIO_PULL_NO;
  GPIO_InitStruct.Alternate = LL_GPIO_AF_7;
  LL_GPIO_Init(GPIOD, &GPIO_InitStruct);

  /* USART3 DMA Init */

  /* USART3_TX Init */
  LL_DMA_SetChannelSelection(DMA1, LL_DMA_STREAM_3, LL_DMA_CHANNEL_4);

  LL_DMA_SetDataTransferDirection(DMA1, LL_DMA_STREAM_3, LL_DMA_DIRECTION_MEMORY_TO_PERIPH);

  LL_DMA_SetStreamPriorityLevel(DMA1, LL_DMA_STREAM_3, LL_DMA_PRIORITY_LOW);

  LL_DMA_SetMode(DMA1, LL_DMA_STREAM_3, LL_DMA_MODE_NORMAL);

  LL_DMA_SetPeriphIncMode(DMA1, LL_DMA_STREAM_3, LL_DMA_PERIPH_NOINCREMENT);

  LL_DMA_SetMemoryIncMode(DMA1, LL_DMA_STREAM_3, LL_DMA_MEMORY_INCREMENT);

  LL_DMA_SetPeriphSize(DMA1, LL_DMA_STREAM_3, LL_DMA_PDATAALIGN_BYTE);

  LL_DMA_SetMemorySize(DMA1, LL_DMA_STREAM_3, LL_DMA_MDATAALIGN_BYTE);

  LL_DMA_DisableFifoMode(DMA1, LL_DMA_STREAM_3);

  USART_InitStruct.BaudRate = 115200;
  USART_InitStruct.DataWidth = LL_USART_DATAWIDTH_8B;
  USART_InitStruct.StopBits = LL_USART_STOPBITS_1;
  USART_InitStruct.Parity = LL_USART_PARITY_NONE;
  USART_InitStruct.TransferDirection = LL_USART_DIRECTION_TX_RX;
  USART_InitStruct.HardwareFlowControl = LL_USART_HWCONTROL_NONE;
  USART_InitStruct.OverSampling = LL_USART_OVERSAMPLING_16;
  LL_USART_Init(USART3, &USART_InitStruct);
  LL_USART_ConfigAsyncMode(USART3);
  LL_USART_Enable(USART3);

}

static void MX_DMA_Init(void)
{

  /* Init with LL driver */
  /* DMA controller clock enable */
  LL_AHB1_GRP1_EnableClock(LL_AHB1_GRP1_PERIPH_DMA1);

  /* DMA interrupt init */
  /* DMA1_Stream3_IRQn interrupt configuration */
  NVIC_SetPriority(DMA1_Stream3_IRQn, NVIC_EncodePriority(NVIC_GetPriorityGrouping(),0, 0));
  NVIC_EnableIRQ(DMA1_Stream3_IRQn);
  /* DMA1_Stream5_IRQn interrupt configuration */
  NVIC_SetPriority(DMA1_Stream5_IRQn, NVIC_EncodePriority(NVIC_GetPriorityGrouping(),1, 0));
  NVIC_EnableIRQ(DMA1_Stream5_IRQn);
  /* DMA1_Stream6_IRQn interrupt configuration */
  NVIC_SetPriority(DMA1_Stream6_IRQn, NVIC_EncodePriority(NVIC_GetPriorityGrouping(),1, 0));
  NVIC_EnableIRQ(DMA1_Stream6_IRQn);

}

static void MX_GPIO_Init(void)
{
  LL_GPIO_InitTypeDef GPIO_InitStruct = {0};

  /* GPIO Ports Clock Enable */
  LL_AHB1_GRP1_EnableClock(LL_AHB1_GRP1_PERIPH_GPIOC);
  LL_AHB1_GRP1_EnableClock(LL_AHB1_GRP1_PERIPH_GPIOH);
  LL_AHB1_GRP1_EnableClock(LL_AHB1_GRP1_PERIPH_GPIOA);
  LL_AHB1_GRP1_EnableClock(LL_AHB1_GRP1_PERIPH_GPIOB);
  LL_AHB1_GRP1_EnableClock(LL_AHB1_GRP1_PERIPH_GPIOD);
  LL_AHB1_GRP1_EnableClock(LL_AHB1_GRP1_PERIPH_GPIOG);

  /**/
  LL_GPIO_ResetOutputPin(GPIOB, LD1_Pin|LD3_Pin|LD2_Pin);

  /**/
  LL_GPIO_ResetOutputPin(USB_PowerSwitchOn_GPIO_Port, USB_PowerSwitchOn_Pin);

  /**/
  LL_GPIO_SetOutputPin(Rst_GPIO_Port, Rst_Pin);

  /**/
  GPIO_InitStruct.Pin = USER_Btn_Pin;
  GPIO_InitStruct.Mode = LL_GPIO_MODE_INPUT;
  GPIO_InitStruct.Pull = LL_GPIO_PULL_NO;
  LL_GPIO_Init(USER_Btn_GPIO_Port, &GPIO_InitStruct);

  /**/
  GPIO_InitStruct.Pin = LD1_Pin|LD3_Pin|LD2_Pin;
  GPIO_InitStruct.Mode = LL_GPIO_MODE_OUTPUT;
  GPIO_InitStruct.Speed = LL_GPIO_SPEED_FREQ_LOW;
  GPIO_InitStruct.OutputType = LL_GPIO_OUTPUT_PUSHPULL;
  GPIO_InitStruct.Pull = LL_GPIO_PULL_NO;
  LL_GPIO_Init(GPIOB, &GPIO_InitStruct);

  /**/
  GPIO_InitStruct.Pin = Rst_Pin;
  GPIO_InitStruct.Mode = LL_GPIO_MODE_OUTPUT;
  GPIO_InitStruct.Speed = LL_GPIO_SPEED_FREQ_HIGH;
  GPIO_InitStruct.OutputType = LL_GPIO_OUTPUT_OPENDRAIN;
  GPIO_InitStruct.Pull = LL_GPIO_PULL_UP;
  LL_GPIO_Init(Rst_GPIO_Port, &GPIO_InitStruct);

  /**/
  GPIO_InitStruct.Pin = USB_PowerSwitchOn_Pin;
  GPIO_InitStruct.Mode = LL_GPIO_MODE_OUTPUT;
  GPIO_InitStruct.Speed = LL_GPIO_SPEED_FREQ_LOW;
  GPIO_InitStruct.OutputType = LL_GPIO_OUTPUT_PUSHPULL;
  GPIO_InitStruct.Pull = LL_GPIO_PULL_NO;
  LL_GPIO_Init(USB_PowerSwitchOn_GPIO_Port, &GPIO_InitStruct);

  /**/
  GPIO_InitStruct.Pin = USB_OverCurrent_Pin;
  GPIO_InitStruct.Mode = LL_GPIO_MODE_INPUT;
  GPIO_InitStruct.Pull = LL_GPIO_PULL_NO;
  LL_GPIO_Init(USB_OverCurrent_GPIO_Port, &GPIO_InitStruct);

}

void HAL_TIM_PeriodElapsedCallback(TIM_HandleTypeDef *htim)
{
  if (htim->Instance == TIM6)
  {
    HAL_IncTick();
  }
}

void Error_Handler(void)
{
  __disable_irq();
  while (1)
  {
  }
}
